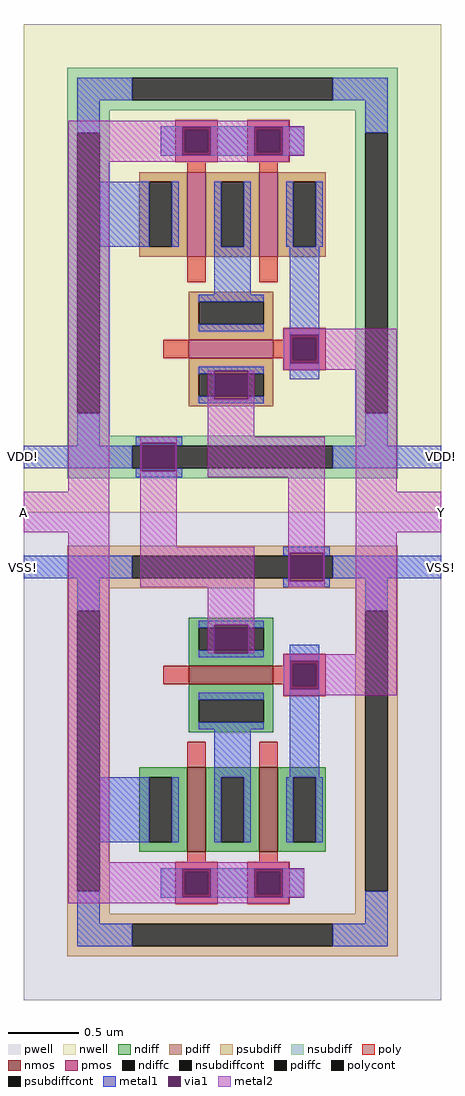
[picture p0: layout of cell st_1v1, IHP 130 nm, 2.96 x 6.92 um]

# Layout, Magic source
magic
tech ihp-sg13g2
magscale 1 2
<< nwell >>
rect -92 -282 500 410
<< pwell >>
rect -92 -974 500 -282
<< nmos >>
rect 142 -526 262 -500
rect 140 -764 166 -644
rect 242 -764 268 -644
<< pmos >>
rect 140 80 166 200
rect 242 80 268 200
rect 142 -64 262 -38
<< ndiff >>
rect 142 -446 262 -432
rect 142 -478 156 -446
rect 248 -478 262 -446
rect 142 -500 262 -478
rect 142 -548 262 -526
rect 142 -580 156 -548
rect 248 -580 262 -548
rect 142 -594 262 -580
rect 72 -658 140 -644
rect 72 -750 86 -658
rect 118 -750 140 -658
rect 72 -764 140 -750
rect 166 -658 242 -644
rect 166 -750 188 -658
rect 220 -750 242 -658
rect 166 -764 242 -750
rect 268 -658 336 -644
rect 268 -750 290 -658
rect 322 -750 336 -658
rect 268 -764 336 -750
<< pdiff >>
rect 72 186 140 200
rect 72 94 86 186
rect 118 94 140 186
rect 72 80 140 94
rect 166 186 242 200
rect 166 94 188 186
rect 220 94 242 186
rect 166 80 242 94
rect 268 186 336 200
rect 268 94 290 186
rect 322 94 336 186
rect 268 80 336 94
rect 142 16 262 30
rect 142 -16 156 16
rect 248 -16 262 16
rect 142 -38 262 -16
rect 142 -86 262 -64
rect 142 -118 156 -86
rect 248 -118 262 -86
rect 142 -132 262 -118
<< ndiffc >>
rect 156 -478 248 -446
rect 156 -580 248 -548
rect 86 -750 118 -658
rect 188 -750 220 -658
rect 290 -750 322 -658
<< pdiffc >>
rect 86 94 118 186
rect 188 94 220 186
rect 290 94 322 186
rect 156 -16 248 16
rect 156 -118 248 -86
<< psubdiff >>
rect -30 -344 438 -330
rect -30 -376 62 -344
rect 346 -376 438 -344
rect -30 -390 438 -376
rect -30 -422 30 -390
rect -30 -820 -16 -422
rect 16 -820 30 -422
rect 378 -422 438 -390
rect -30 -852 30 -820
rect 378 -820 392 -422
rect 424 -820 438 -422
rect 378 -852 438 -820
rect -30 -866 438 -852
rect -30 -898 62 -866
rect 346 -898 438 -866
rect -30 -912 438 -898
<< nsubdiff >>
rect -30 334 438 348
rect -30 302 62 334
rect 346 302 438 334
rect -30 288 438 302
rect -30 256 30 288
rect -30 -142 -16 256
rect 16 -142 30 256
rect 378 256 438 288
rect -30 -174 30 -142
rect 378 -142 392 256
rect 424 -142 438 256
rect 378 -174 438 -142
rect -30 -188 438 -174
rect -30 -220 62 -188
rect 346 -220 438 -188
rect -30 -234 438 -220
<< psubdiffcont >>
rect 62 -376 346 -344
rect -16 -820 16 -422
rect 392 -820 424 -422
rect 62 -898 346 -866
<< nsubdiffcont >>
rect 62 302 346 334
rect -16 -142 16 256
rect 392 -142 424 256
rect 62 -220 346 -188
<< poly >>
rect 123 260 183 274
rect 123 228 137 260
rect 169 228 183 260
rect 123 214 183 228
rect 225 260 285 274
rect 225 228 239 260
rect 271 228 285 260
rect 225 214 285 228
rect 140 200 166 214
rect 242 200 268 214
rect 140 44 166 80
rect 242 44 268 80
rect 276 -35 336 -21
rect 276 -38 290 -35
rect 106 -64 142 -38
rect 262 -64 290 -38
rect 276 -67 290 -64
rect 322 -67 336 -35
rect 276 -81 336 -67
rect 276 -497 336 -483
rect 276 -500 290 -497
rect 106 -526 142 -500
rect 262 -526 290 -500
rect 276 -529 290 -526
rect 322 -529 336 -497
rect 276 -543 336 -529
rect 140 -644 166 -608
rect 242 -644 268 -608
rect 140 -778 166 -764
rect 242 -778 268 -764
rect 123 -792 183 -778
rect 123 -824 137 -792
rect 169 -824 183 -792
rect 123 -838 183 -824
rect 225 -792 285 -778
rect 225 -824 239 -792
rect 271 -824 285 -792
rect 225 -838 285 -824
<< polycont >>
rect 137 228 169 260
rect 239 228 271 260
rect 290 -67 322 -35
rect 290 -529 322 -497
rect 137 -824 169 -792
rect 239 -824 271 -792
<< metal1 >>
rect -16 302 62 334
rect 346 302 424 334
rect -16 256 16 302
rect 102 264 306 265
rect 102 224 133 264
rect 173 224 235 264
rect 275 224 306 264
rect 102 223 306 224
rect 392 256 424 302
rect 16 94 86 186
rect 118 94 128 186
rect 178 94 188 186
rect 220 94 230 186
rect 280 94 290 186
rect 322 94 332 186
rect 178 26 230 94
rect 156 16 248 26
rect 156 -26 248 -16
rect 285 -31 327 94
rect 285 -71 286 -31
rect 326 -71 327 -31
rect 156 -82 248 -76
rect 156 -86 178 -82
rect 226 -86 248 -82
rect 285 -94 327 -71
rect 156 -122 178 -118
rect 226 -122 248 -118
rect 156 -128 248 -122
rect -16 -188 16 -142
rect 67 -184 133 -175
rect 67 -188 75 -184
rect 123 -188 133 -184
rect 392 -188 424 -142
rect -92 -220 62 -188
rect 346 -220 500 -188
rect 67 -224 75 -220
rect 123 -224 133 -220
rect 67 -233 133 -224
rect 276 -340 342 -331
rect 276 -344 285 -340
rect 333 -344 342 -340
rect -92 -376 62 -344
rect 346 -376 500 -344
rect -16 -422 16 -376
rect 276 -380 285 -376
rect 333 -380 342 -376
rect 276 -389 342 -380
rect 392 -422 424 -376
rect 156 -442 248 -436
rect 156 -446 178 -442
rect 226 -446 248 -442
rect 156 -482 178 -478
rect 226 -482 248 -478
rect 156 -488 248 -482
rect 285 -493 327 -470
rect 285 -533 286 -493
rect 326 -533 327 -493
rect 156 -548 248 -538
rect 156 -590 248 -580
rect 178 -658 230 -590
rect 285 -658 327 -533
rect 16 -750 86 -658
rect 118 -750 128 -658
rect 178 -750 188 -658
rect 220 -750 230 -658
rect 280 -750 290 -658
rect 322 -750 332 -658
rect -16 -866 16 -820
rect 102 -788 306 -787
rect 102 -828 133 -788
rect 173 -828 235 -788
rect 275 -828 306 -788
rect 102 -829 306 -828
rect 392 -866 424 -820
rect -16 -898 62 -866
rect 346 -898 424 -866
<< via1 >>
rect 133 260 173 264
rect 133 228 137 260
rect 137 228 169 260
rect 169 228 173 260
rect 133 224 173 228
rect 235 260 275 264
rect 235 228 239 260
rect 239 228 271 260
rect 271 228 275 260
rect 235 224 275 228
rect 286 -35 326 -31
rect 286 -67 290 -35
rect 290 -67 322 -35
rect 322 -67 326 -35
rect 286 -71 326 -67
rect 178 -86 226 -82
rect 178 -118 226 -86
rect 178 -122 226 -118
rect 75 -188 123 -184
rect 75 -220 123 -188
rect 75 -224 123 -220
rect 285 -344 333 -340
rect 285 -376 333 -344
rect 285 -380 333 -376
rect 178 -446 226 -442
rect 178 -478 226 -446
rect 178 -482 226 -478
rect 286 -497 326 -493
rect 286 -529 290 -497
rect 290 -529 322 -497
rect 322 -529 326 -497
rect 286 -533 326 -529
rect 133 -792 173 -788
rect 133 -824 137 -792
rect 137 -824 169 -792
rect 169 -824 173 -792
rect 133 -828 173 -824
rect 235 -792 275 -788
rect 235 -824 239 -792
rect 239 -824 271 -792
rect 271 -824 275 -792
rect 235 -828 275 -824
<< metal2 >>
rect -29 264 284 273
rect -29 224 133 264
rect 173 224 235 264
rect 275 224 306 264
rect -29 215 284 224
rect -29 -253 29 215
rect 277 -31 437 -22
rect 277 -71 286 -31
rect 326 -71 437 -31
rect 277 -80 437 -71
rect 169 -122 178 -82
rect 226 -122 235 -82
rect 169 -175 235 -122
rect -92 -311 29 -253
rect -29 -779 29 -311
rect 73 -184 125 -175
rect 73 -224 75 -184
rect 123 -224 125 -184
rect 73 -331 125 -224
rect 169 -233 335 -175
rect 73 -389 235 -331
rect 283 -340 335 -233
rect 283 -380 285 -340
rect 333 -380 335 -340
rect 283 -389 335 -380
rect 379 -253 437 -80
rect 379 -311 500 -253
rect 169 -442 235 -389
rect 169 -482 178 -442
rect 226 -482 235 -442
rect 379 -484 437 -311
rect 277 -493 437 -484
rect 277 -533 286 -493
rect 326 -533 437 -493
rect 277 -542 437 -533
rect -29 -788 284 -779
rect -29 -828 133 -788
rect 173 -828 235 -788
rect 275 -828 306 -788
rect -29 -837 284 -828
<< labels >>
rlabel metal2 500 -282 500 -282 3 Y
rlabel metal2 -92 -282 -92 -282 7 A
rlabel metal1 -92 -204 -92 -204 7 VDD!
rlabel metal1 500 -204 500 -204 3 VDD!
rlabel metal1 -92 -360 -92 -360 7 VSS!
rlabel metal1 500 -360 500 -360 3 VSS!
<< end >>
